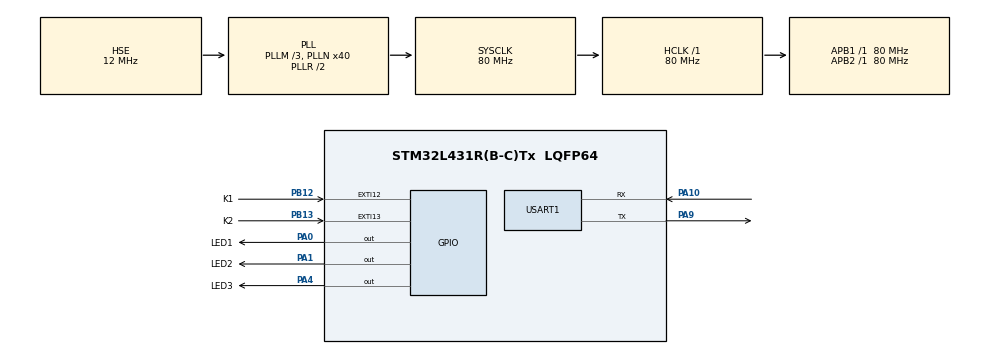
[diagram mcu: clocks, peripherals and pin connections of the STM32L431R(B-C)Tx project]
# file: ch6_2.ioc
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Mcu.Family=STM32L4
Mcu.Name=STM32L431R(B-C)Tx
Mcu.Package=LQFP64
NVIC.EXTI15_10_IRQn=true\:0\:0\:false\:false\:true\:true\:true\:true
NVIC.PriorityGroup=NVIC_PRIORITYGROUP_4
NVIC.TIM6_DAC_IRQn=true\:0\:0\:false\:false\:true\:true\:true\:true
NVIC.USART1_IRQn=true\:0\:0\:false\:false\:true\:true\:true\:true
PA0.GPIO_Label=LED1
PA0.PinState=GPIO_PIN_SET
PA0.Signal=GPIO_Output
PA1.GPIO_Label=LED2
PA1.PinState=GPIO_PIN_SET
PA1.Signal=GPIO_Output
PA10.Mode=Asynchronous
PA10.Signal=USART1_RX
PA13\ (JTMS-SWDIO).Mode=Serial_Wire
PA13\ (JTMS-SWDIO).Signal=SYS_JTMS-SWDIO
PA14\ (JTCK-SWCLK).Mode=Serial_Wire
PA14\ (JTCK-SWCLK).Signal=SYS_JTCK-SWCLK
PA4.GPIO_Label=LED3
PA4.PinState=GPIO_PIN_SET
PA4.Signal=GPIO_Output
PA9.Mode=Asynchronous
PA9.Signal=USART1_TX
PB12.GPIO_Label=K1
PB12.GPIO_ModeDefaultEXTI=GPIO_MODE_IT_RISING_FALLING
PB12.GPIO_PuPd=GPIO_PULLDOWN
PB12.Signal=GPXTI12
PB13.GPIO_Label=K2
PB13.GPIO_ModeDefaultEXTI=GPIO_MODE_IT_RISING_FALLING
PB13.GPIO_PuPd=GPIO_PULLDOWN
PB13.Signal=GPXTI13
PH0-OSC_IN\ (PH0).Mode=HSE-External-Oscillator
PH0-OSC_IN\ (PH0).Signal=RCC_OSC_IN
PH1-OSC_OUT\ (PH1).Mode=HSE-External-Oscillator
PH1-OSC_OUT\ (PH1).Signal=RCC_OSC_OUT
ProjectManager.HeapSize=0x200
ProjectManager.StackSize=0x400
ProjectManager.TargetToolchain=STM32CubeIDE
RCC.ADCFreq_Value=16000000
RCC.AHBFreq_Value=80000000
RCC.APB1Freq_Value=80000000
RCC.APB1TimFreq_Value=80000000
RCC.APB2Freq_Value=80000000
RCC.APB2TimFreq_Value=80000000
RCC.CortexFreq_Value=80000000
RCC.HCLKFreq_Value=80000000
RCC.HSE_VALUE=12000000
RCC.HSI48_VALUE=48000000
RCC.HSI_VALUE=16000000
RCC.LSE_VALUE=32768
RCC.MSI_VALUE=4000000
RCC.PLLM=3
RCC.PLLN=40
RCC.PLLSourceVirtual=RCC_PLLSOURCE_HSE
RCC.SYSCLKFreq_VALUE=80000000
RCC.SYSCLKSource=RCC_SYSCLKSOURCE_PLLCLK
RCC.VCOOutputFreq_Value=160000000
TIM6.AutoReloadPreload=TIM_AUTORELOAD_PRELOAD_ENABLE
TIM6.Period=10000-1
TIM6.Prescaler=8000-1
USART1.VirtualMode-Asynchronous=VM_ASYNC
VP_TIM6_VS_ClockSourceINT.Mode=Enable_Timer
board=custom

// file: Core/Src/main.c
/* USER CODE BEGIN Header */
/**
  ******************************************************************************
  * @file           : main.c
  * @brief          : Main program body
  ******************************************************************************
  * @attention
  *
  * Copyright (c) 2022 STMicroelectronics.
  * All rights reserved.
  *
  * This software is licensed under terms that can be found in the LICENSE file
  * in the root directory of this software component.
  * If no LICENSE file comes with this software, it is provided AS-IS.
  *
  ******************************************************************************
  */
/*
 * �?1）LED1用于指示系统工作状�?�，上电或复位后，系统进行初始化，初始化完成后LED1间隔0.5s闪烁3次，随后进入正常运行状�??, LED1间隔1s闪烁�?
 * �?2）按键K1和K2通过外部中断的方式控制LED2和LED3的状态，按下时对应LED亮，松开时对应LED灭�??
 * �?3）�?�过USART1将LED2、LED3、K1和K2状�?�信息发送至串口调试助手，发送时间间隔为2s�?
 * �?4）利用串口调试助手发送控制指令，实现LED2和LED3的开关控制�??
 *
 *
 */
/* USER CODE END Header */
#include "main.h"

 TIM_HandleTypeDef htim6;

UART_HandleTypeDef huart1;

/* USER CODE BEGIN PV */

/* 状态标志位 */
uint8_t flag_1s = 0;//1s定时标志
uint8_t flag_2s = 0;//2s定时标志
uint8_t num_tim6 = 0;//TIM6中断次数标志
uint8_t flag_rec_usart1 = 0;//UASRT1接收完成中断标志

/* USART收发数组 */
uint8_t msg_rec_usart1[9];//串口1接收数组
uint8_t msg_send_usart1[11] = {0x48, 0x41, 0x49, 0x54};//串口1发送数组
/* USER CODE END PV */

void SystemClock_Config(void);
static void MX_GPIO_Init(void);
static void MX_TIM6_Init(void);
static void MX_USART1_UART_Init(void);

int main(void)
{

  /* MCU Configuration--------------------------------------------------------*/

  /* Reset of all peripherals, Initializes the Flash interface and the Systick. */
  HAL_Init();

  /* Configure the system clock */
  SystemClock_Config();

  /* Initialize all configured peripherals */
  MX_GPIO_Init();
  MX_TIM6_Init();
  MX_USART1_UART_Init();
  /* USER CODE BEGIN 2 */
  /* LED1间隔0.5s闪烁3次 */
  for(int i=0; i<6; i++)
  {
	  HAL_GPIO_TogglePin(LED1_GPIO_Port, LED1_Pin);//LED1状态改变
	  HAL_Delay(500);//延时0.5s
  }

  /* 启动定时器 */
  HAL_TIM_Base_Start_IT(&htim6);
  /* 中断方式启动串口接收 */
  HAL_UART_Receive_IT(&huart1, msg_rec_usart1, 9);

  /* USER CODE END 2 */

  /* Infinite loop */
  /* USER CODE BEGIN WHILE */
  while (1)
  {
	  if(flag_1s)
	  {
		  flag_1s = 0;
		  HAL_GPIO_TogglePin(LED1_GPIO_Port, LED1_Pin);//LED1闪烁
	  }
	  if(flag_2s)
	  {
		  flag_2s = 0;
		  /* 判断LED2和LED3状态，改变msg_send_usart1中对应位 */
		  if(HAL_GPIO_ReadPin(LED2_GPIO_Port, LED2_Pin) == GPIO_PIN_RESET)
		  {
			  msg_send_usart1[5] = 0x01;
		  }
		  else
		  {
			  msg_send_usart1[5] = 0x00;
		  }

		  if(HAL_GPIO_ReadPin(LED3_GPIO_Port, LED3_Pin) == GPIO_PIN_RESET)
		  {
			  msg_send_usart1[6] = 0x01;
		  }
		  else
		  {
			  msg_send_usart1[6] = 0x00;
		  }
		  HAL_UART_Transmit(&huart1, msg_send_usart1, 11, 0xfff);//串口发送状态信息
	  }
	  if(flag_rec_usart1)
	  {
		  flag_rec_usart1 = 0;
		  /* 判断协议头 */
		  if(msg_rec_usart1[0]==0x48 && msg_rec_usart1[1]==0x41 && msg_rec_usart1[2]==0x49 && msg_rec_usart1[3]==0x54)
		  {
			  if(msg_rec_usart1[5] == 0x01)//控制LED2状态
			  {
				  HAL_GPIO_WritePin(LED2_GPIO_Port, LED2_Pin, GPIO_PIN_RESET);//点亮LED2
				  msg_rec_usart1[5] = 0x01;//LED2状态
			  }
			  else
			  {
				  HAL_GPIO_WritePin(LED2_GPIO_Port, LED2_Pin, GPIO_PIN_SET);//点亮LED2
				  msg_rec_usart1[5] = 0x00;//LED2状态
			  }

			  if(msg_rec_usart1[6] == 0x01)//控制LED3状态
			  {
				  HAL_GPIO_WritePin(LED3_GPIO_Port, LED3_Pin, GPIO_PIN_RESET);//点亮LED2
				  msg_rec_usart1[6] = 0x01;//LED3状态
			  }
			  else
			  {
				  HAL_GPIO_WritePin(LED3_GPIO_Port, LED3_Pin, GPIO_PIN_SET);//点亮LED2
				  msg_rec_usart1[6] = 0x00;//LED3状态
			  }
		  }
	  }
	  /* USER CODE END WHILE */

  }
}

void SystemClock_Config(void)
{
  RCC_OscInitTypeDef RCC_OscInitStruct = {0};
  RCC_ClkInitTypeDef RCC_ClkInitStruct = {0};

  /** Configure the main internal regulator output voltage
  */
  if (HAL_PWREx_ControlVoltageScaling(PWR_REGULATOR_VOLTAGE_SCALE1) != HAL_OK)
  {
    Error_Handler();
  }

  /** Initializes the RCC Oscillators according to the specified parameters
  * in the RCC_OscInitTypeDef structure.
  */
  RCC_OscInitStruct.OscillatorType = RCC_OSCILLATORTYPE_HSE;
  RCC_OscInitStruct.HSEState = RCC_HSE_ON;
  RCC_OscInitStruct.PLL.PLLState = RCC_PLL_ON;
  RCC_OscInitStruct.PLL.PLLSource = RCC_PLLSOURCE_HSE;
  RCC_OscInitStruct.PLL.PLLM = 3;
  RCC_OscInitStruct.PLL.PLLN = 40;
  RCC_OscInitStruct.PLL.PLLP = RCC_PLLP_DIV7;
  RCC_OscInitStruct.PLL.PLLQ = RCC_PLLQ_DIV2;
  RCC_OscInitStruct.PLL.PLLR = RCC_PLLR_DIV2;
  if (HAL_RCC_OscConfig(&RCC_OscInitStruct) != HAL_OK)
  {
    Error_Handler();
  }

  /** Initializes the CPU, AHB and APB buses clocks
  */
  RCC_ClkInitStruct.ClockType = RCC_CLOCKTYPE_HCLK|RCC_CLOCKTYPE_SYSCLK
                              |RCC_CLOCKTYPE_PCLK1|RCC_CLOCKTYPE_PCLK2;
  RCC_ClkInitStruct.SYSCLKSource = RCC_SYSCLKSOURCE_PLLCLK;
  RCC_ClkInitStruct.AHBCLKDivider = RCC_SYSCLK_DIV1;
  RCC_ClkInitStruct.APB1CLKDivider = RCC_HCLK_DIV1;
  RCC_ClkInitStruct.APB2CLKDivider = RCC_HCLK_DIV1;

  if (HAL_RCC_ClockConfig(&RCC_ClkInitStruct, FLASH_LATENCY_4) != HAL_OK)
  {
    Error_Handler();
  }
}

static void MX_TIM6_Init(void)
{

  TIM_MasterConfigTypeDef sMasterConfig = {0};

  htim6.Instance = TIM6;
  htim6.Init.Prescaler = 8000-1;
  htim6.Init.CounterMode = TIM_COUNTERMODE_UP;
  htim6.Init.Period = 10000-1;
  htim6.Init.AutoReloadPreload = TIM_AUTORELOAD_PRELOAD_ENABLE;
  if (HAL_TIM_Base_Init(&htim6) != HAL_OK)
  {
    Error_Handler();
  }
  sMasterConfig.MasterOutputTrigger = TIM_TRGO_RESET;
  sMasterConfig.MasterSlaveMode = TIM_MASTERSLAVEMODE_DISABLE;
  if (HAL_TIMEx_MasterConfigSynchronization(&htim6, &sMasterConfig) != HAL_OK)
  {
    Error_Handler();
  }

}

static void MX_USART1_UART_Init(void)
{

  huart1.Instance = USART1;
  huart1.Init.BaudRate = 115200;
  huart1.Init.WordLength = UART_WORDLENGTH_8B;
  huart1.Init.StopBits = UART_STOPBITS_1;
  huart1.Init.Parity = UART_PARITY_NONE;
  huart1.Init.Mode = UART_MODE_TX_RX;
  huart1.Init.HwFlowCtl = UART_HWCONTROL_NONE;
  huart1.Init.OverSampling = UART_OVERSAMPLING_16;
  huart1.Init.OneBitSampling = UART_ONE_BIT_SAMPLE_DISABLE;
  huart1.AdvancedInit.AdvFeatureInit = UART_ADVFEATURE_NO_INIT;
  if (HAL_UART_Init(&huart1) != HAL_OK)
  {
    Error_Handler();
  }

}

static void MX_GPIO_Init(void)
{
  GPIO_InitTypeDef GPIO_InitStruct = {0};

  /* GPIO Ports Clock Enable */
  __HAL_RCC_GPIOH_CLK_ENABLE();
  __HAL_RCC_GPIOA_CLK_ENABLE();
  __HAL_RCC_GPIOB_CLK_ENABLE();

  /*Configure GPIO pin Output Level */
  HAL_GPIO_WritePin(GPIOA, LED1_Pin|LED2_Pin|LED3_Pin, GPIO_PIN_SET);

  /*Configure GPIO pins : LED1_Pin LED2_Pin LED3_Pin */
  GPIO_InitStruct.Pin = LED1_Pin|LED2_Pin|LED3_Pin;
  GPIO_InitStruct.Mode = GPIO_MODE_OUTPUT_PP;
  GPIO_InitStruct.Pull = GPIO_NOPULL;
  GPIO_InitStruct.Speed = GPIO_SPEED_FREQ_LOW;
  HAL_GPIO_Init(GPIOA, &GPIO_InitStruct);

  /*Configure GPIO pins : K1_Pin K2_Pin */
  GPIO_InitStruct.Pin = K1_Pin|K2_Pin;
  GPIO_InitStruct.Mode = GPIO_MODE_IT_RISING_FALLING;
  GPIO_InitStruct.Pull = GPIO_PULLDOWN;
  HAL_GPIO_Init(GPIOB, &GPIO_InitStruct);

  /* EXTI interrupt init*/
  HAL_NVIC_SetPriority(EXTI15_10_IRQn, 0, 0);
  HAL_NVIC_EnableIRQ(EXTI15_10_IRQn);

}

/* USER CODE BEGIN 4 */
/* EXTI中断回调函数 */
void HAL_GPIO_EXTI_Callback(uint16_t GPIO_Pin)
{
	if(GPIO_Pin == K1_Pin)
	{
		/* 根据K1按下还是断开，控制LED2亮灭 */
		if(HAL_GPIO_ReadPin(K1_GPIO_Port, K1_Pin) == GPIO_PIN_SET)//按下
		{
			HAL_GPIO_WritePin(LED2_GPIO_Port, LED2_Pin, GPIO_PIN_RESET);//LED2亮
			msg_send_usart1[5] = 0x01;//LED2状态
			msg_send_usart1[7] = 0x01;//K1状态
		}
		else
		{
			HAL_GPIO_WritePin(LED2_GPIO_Port, LED2_Pin, GPIO_PIN_SET);//LED2灭
			msg_send_usart1[5] = 0x00;//LED2状态
			msg_send_usart1[7] = 0x00;//K1状态
		}
	}
	else
	{
		/* 根据K2按下还是断开，控制LED3亮灭 */
		if(HAL_GPIO_ReadPin(K2_GPIO_Port, K2_Pin) == GPIO_PIN_SET)//按下
		{
			HAL_GPIO_WritePin(LED3_GPIO_Port, LED3_Pin, GPIO_PIN_RESET);//LED3亮
			msg_send_usart1[6] = 0x01;//LED3状态
			msg_send_usart1[8] = 0x01;//K2状态
		}
		else
		{
			HAL_GPIO_WritePin(LED3_GPIO_Port, LED3_Pin, GPIO_PIN_SET);//LED3灭
			msg_send_usart1[6] = 0x00;//LED3状态
			msg_send_usart1[8] = 0x00;//K2状态
		}
	}
}

/* TIM中断回调函数 */
void HAL_TIM_PeriodElapsedCallback(TIM_HandleTypeDef *htim)
{
	if(htim->Instance == TIM6)
	{
		num_tim6++;
		flag_1s = 1;
		if(num_tim6 == 2)
		{
			flag_2s = 1;
			num_tim6 = 0;
		}
	}
}

/* USART中断回调函数 */
void HAL_UART_RxCpltCallback(UART_HandleTypeDef *huart)
{
	if(huart->Instance == USART1)
	{
		flag_rec_usart1 = 1;
		HAL_UART_Receive_IT(&huart1, msg_rec_usart1, 9);//再次启动中断接收
	}
}

/* USER CODE END 4 */

void Error_Handler(void)
{
  __disable_irq();
  while (1)
  {
  }
}
